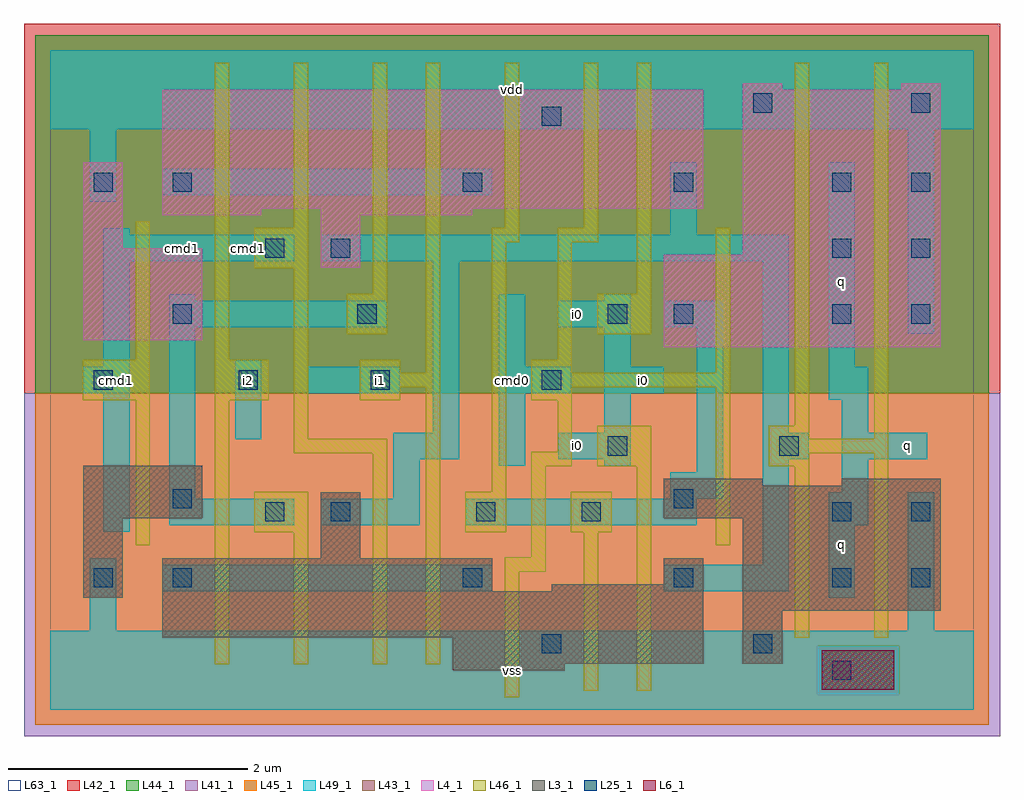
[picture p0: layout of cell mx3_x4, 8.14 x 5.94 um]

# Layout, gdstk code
import gdstk
lib = gdstk.Library(unit=1e-6, precision=1e-09)
def R(c, l, rs):  # rectangles x0, y0, x1, y1
    for r in rs: c.add(gdstk.rectangle(r[:2], r[2:], *l))
def A(c, l, x, y, w, h, nx, ny, dx, dy):  # array of equal rectangles
    R(c, l, [(x+i*dx, y+j*dy, x+i*dx+w, y+j*dy+h) for i in range(nx) for j in range(ny)])
L3_1 = (3, 1)
L4_1 = (4, 1)
L6_1 = (6, 1)
L25_1 = (25, 1)
L41_1 = (41, 1)
L42_1 = (42, 1)
L43_1 = (43, 1)
L44_1 = (44, 1)
L45_1 = (45, 1)
L46_1 = (46, 1)
L49_1 = (49, 1)
L63_1 = (63, 1)

mx3_x4 = lib.new_cell('mx3_x4')
R(mx3_x4, L3_1, [(3.355,0.33,4.29,0.385), (3.355,0.385,5.445,0.605), (5.775,0.385,6.105,0.825), (0.935,0.605,5.445,0.99), (5.775,0.825,7.425,1.595), (0.275,0.935,0.605,1.595), (0.935,0.99,3.685,1.265), (4.18,0.99,5.445,1.045), (5.115,1.045,5.445,1.265), (2.255,1.265,2.585,1.815), (0.275,1.595,1.265,2.035), (5.115,1.595,7.425,1.87), (5.115,1.87,5.94,1.925), (6.6,1.87,7.425,1.925)])
R(mx3_x4, L4_1, [(5.115,3.025,7.425,3.795), (0.275,3.08,1.265,3.85), (2.255,3.685,2.585,4.125), (5.775,3.795,7.425,5.17), (0.275,3.85,0.605,4.565), (0.935,4.125,1.76,4.18), (2.255,4.125,3.52,4.18), (0.935,4.18,5.445,5.17), (5.775,5.17,6.105,5.225), (7.095,5.17,7.425,5.225)])
R(mx3_x4, L6_1, [(6.435,0.165,7.04,0.495)])
A(mx3_x4, L25_1, 4.1, 0.47, 0.16, 0.16, 1, 3, 0, 2.2)
A(mx3_x4, L25_1, 0.36, 1.02, 0.16, 0.16, 1, 3, 0, 1.65)
A(mx3_x4, L25_1, 6.52, 3.22, 0.16, 0.16, 1, 3, 0, 0.55)
A(mx3_x4, L25_1, 7.18, 3.22, 0.16, 0.16, 1, 3, 0, 0.55)
R(mx3_x4, L25_1, [(6.52,0.25,6.68,0.41), (5.86,0.47,6.02,0.63), (1.02,1.02,1.18,1.18), (3.44,1.02,3.6,1.18), (5.2,1.02,5.36,1.18), (6.52,1.02,6.68,1.18), (7.18,1.02,7.34,1.18), (1.79,1.57,1.95,1.73), (2.34,1.57,2.5,1.73), (3.55,1.57,3.71,1.73), (4.43,1.57,4.59,1.73), (6.52,1.57,6.68,1.73), (7.18,1.57,7.34,1.73), (1.02,1.68,1.18,1.84), (5.2,1.68,5.36,1.84), (4.65,2.12,4.81,2.28), (6.08,2.12,6.24,2.28), (1.57,2.67,1.73,2.83), (2.67,2.67,2.83,2.83), (1.02,3.22,1.18,3.38), (2.56,3.22,2.72,3.38), (4.65,3.22,4.81,3.38), (5.2,3.22,5.36,3.38), (1.79,3.77,1.95,3.93), (2.34,3.77,2.5,3.93), (1.02,4.32,1.18,4.48), (3.44,4.32,3.6,4.48), (5.2,4.32,5.36,4.48), (5.86,4.98,6.02,5.14), (7.18,4.98,7.34,5.14)])
R(mx3_x4, L41_1, [(-0.22,-0.22,7.92,2.64)])
R(mx3_x4, L42_1, [(-0.22,2.64,7.92,5.72)])
R(mx3_x4, L43_1, [(6.435,0.165,7.04,0.495), (3.355,0.33,4.29,0.385), (3.355,0.385,5.445,0.605), (5.775,0.385,6.105,0.825), (0.935,0.605,5.445,0.99), (5.775,0.825,7.425,1.595), (0.275,0.935,0.605,1.595), (0.935,0.99,3.685,1.265), (4.18,0.99,5.445,1.045), (5.115,1.045,5.445,1.265), (2.255,1.265,2.585,1.815), (0.275,1.595,1.265,2.035), (5.115,1.595,7.425,1.87), (5.115,1.87,5.94,1.925), (6.6,1.87,7.425,1.925), (5.115,3.025,7.425,3.795), (0.275,3.08,1.265,3.85), (2.255,3.685,2.585,4.125), (5.775,3.795,7.425,5.17), (0.275,3.85,0.605,4.565), (0.935,4.125,1.76,4.18), (2.255,4.125,3.52,4.18), (0.935,4.18,5.445,5.17), (5.775,5.17,6.105,5.225), (7.095,5.17,7.425,5.225)])
R(mx3_x4, L44_1, [(6.395,0.125,7.08,0.535), (-0.125,2.64,7.825,5.625)])
R(mx3_x4, L45_1, [(-0.125,-0.125,7.825,0.125), (-0.125,0.125,6.395,0.535), (7.08,0.125,7.825,0.535), (-0.125,0.535,7.825,2.64)])
R(mx3_x4, L46_1, [(3.79,0.105,3.91,1.15), (4.45,0.16,4.57,1.48), (4.89,0.16,5.01,2.03), (1.37,0.38,1.49,2.58), (2.03,0.38,2.15,1.48), (2.69,0.38,2.81,2.14), (3.13,0.38,3.25,2.69), (6.21,0.6,6.33,2.03), (6.87,0.6,6.99,2.14), (3.79,1.15,4.13,1.27), (4.01,1.27,4.13,2.03), (0.71,1.37,0.83,2.58), (5.55,1.37,5.67,2.69), (1.7,1.48,2.15,1.82), (3.46,1.48,3.8,1.82), (4.34,1.48,4.68,1.82), (3.68,1.82,3.8,3.9), (4.01,2.03,4.35,2.15), (4.56,2.03,5.01,2.37), (5.99,2.03,6.33,2.14), (2.03,2.14,2.81,2.26), (5.99,2.14,6.99,2.26), (4.23,2.15,4.35,2.58), (2.03,2.26,2.15,3.68), (5.99,2.26,6.33,2.37), (6.87,2.26,6.99,5.395), (6.21,2.37,6.33,5.395), (0.27,2.58,0.83,2.92), (1.37,2.58,1.82,2.92), (2.58,2.58,2.92,2.69), (4.01,2.58,4.35,2.69), (2.58,2.69,3.25,2.81), (4.01,2.69,5.67,2.81), (2.58,2.81,2.92,2.92), (3.13,2.81,3.25,5.395), (4.01,2.81,4.35,2.92), (5.55,2.81,5.67,4.02), (0.71,2.92,0.83,4.075), (1.37,2.92,1.49,5.395), (4.23,2.92,4.35,3.9), (2.47,3.13,2.81,3.47), (4.56,3.13,5.01,3.47), (2.69,3.47,2.81,5.395), (4.89,3.47,5.01,5.395), (1.7,3.68,2.15,4.02), (3.68,3.9,3.91,4.02), (4.23,3.9,4.57,4.02), (2.03,4.02,2.15,5.395), (3.79,4.02,3.91,5.395), (4.45,4.02,4.57,5.395)])
R(mx3_x4, L49_1, [(0,0,7.7,0.66), (0.33,0.66,0.55,1.265), (7.15,0.66,7.37,1.815), (6.49,0.935,6.71,1.54), (0.935,0.99,3.685,1.21), (5.115,0.99,6.16,1.21), (5.94,1.21,6.16,2.09), (0.44,1.485,0.66,2.64), (0.99,1.54,2.035,1.76), (2.255,1.54,3.08,1.76), (3.465,1.54,5.39,1.76), (6.49,1.54,6.82,1.815), (0.99,1.76,1.21,3.19), (2.86,1.76,3.08,2.09), (5.17,1.76,5.61,1.98), (6.6,1.815,6.82,2.09), (5.39,1.98,5.61,3.19), (3.74,2.035,3.96,2.64), (4.62,2.035,4.84,2.09), (2.86,2.09,3.41,2.31), (4.235,2.09,4.84,2.31), (5.94,2.09,6.325,2.31), (6.6,2.09,7.315,2.31), (1.54,2.255,1.76,2.915), (3.19,2.31,3.41,3.74), (4.62,2.31,4.84,2.64), (5.94,2.31,6.16,3.74), (6.6,2.31,6.82,2.585), (6.49,2.585,6.82,2.86), (0.275,2.64,0.66,2.86), (2.145,2.64,2.915,2.86), (3.74,2.64,4.345,2.86), (4.62,2.64,5.115,2.86), (0.44,2.86,0.66,3.74), (3.74,2.86,3.96,3.465), (4.62,2.86,4.84,3.19), (6.49,2.86,6.71,4.565), (7.15,3.135,7.37,4.84), (0.99,3.19,2.805,3.41), (4.235,3.19,4.84,3.41), (5.115,3.19,5.61,3.41), (0.99,3.41,1.21,3.465), (4.62,3.41,4.84,3.465), (0.44,3.74,2.035,3.96), (2.255,3.74,6.16,3.96), (0.44,3.96,0.66,4.015), (5.17,3.96,5.39,4.565), (0.33,4.235,0.55,4.84), (0.935,4.29,3.685,4.51), (0,4.84,7.7,5.5)])
R(mx3_x4, L63_1, [(0,0,7.7,5.5)])
mx3_x4.add(gdstk.Label('cmd1', (0.55,2.75), layer=49, texttype=1))
mx3_x4.add(gdstk.Label('cmd1', (1.1,3.85), layer=49, texttype=1))
mx3_x4.add(gdstk.Label('i2', (1.65,2.75), layer=49, texttype=1))
mx3_x4.add(gdstk.Label('i1', (2.75,2.75), layer=49, texttype=1))
mx3_x4.add(gdstk.Label('cmd1', (1.65,3.85), layer=49, texttype=1))
mx3_x4.add(gdstk.Label('vss', (3.85,0.33), layer=49, texttype=1))
mx3_x4.add(gdstk.Label('i0', (4.4,2.2), layer=49, texttype=1))
mx3_x4.add(gdstk.Label('cmd0', (3.85,2.75), layer=49, texttype=1))
mx3_x4.add(gdstk.Label('i0', (4.4,3.3), layer=49, texttype=1))
mx3_x4.add(gdstk.Label('vdd', (3.85,5.17), layer=49, texttype=1))
mx3_x4.add(gdstk.Label('i0', (4.95,2.75), layer=49, texttype=1))
mx3_x4.add(gdstk.Label('q', (6.6,1.375), layer=49, texttype=1))
mx3_x4.add(gdstk.Label('q', (7.15,2.2), layer=49, texttype=1))
mx3_x4.add(gdstk.Label('q', (6.6,3.575), layer=49, texttype=1))

lib.write_gds('mx3_x4.gds')
